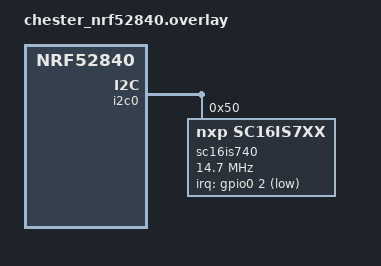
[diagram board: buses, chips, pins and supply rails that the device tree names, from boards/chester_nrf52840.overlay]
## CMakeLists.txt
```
# SPDX-License-Identifier: Apache-2.0

cmake_minimum_required(VERSION 3.20.0)
find_package(Zephyr REQUIRED HINTS $ENV{ZEPHYR_BASE})
project(sc16is7xx-example)

target_sources(app PRIVATE src/main.c)
```

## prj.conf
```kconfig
CONFIG_LOG=y
#CONFIG_LOG_CORE_INIT_PRIORITY=99
#CONFIG_LOG_MODE_IMMEDIATE=y
CONFIG_THREAD_NAME=y
CONFIG_UART_INTERRUPT_DRIVEN=y
CONFIG_UART_LOG_LEVEL_DBG=y
```

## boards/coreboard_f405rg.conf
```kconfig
CONFIG_USE_SEGGER_RTT=y
CONFIG_SEGGER_RTT_BUFFER_SIZE_UP=4096
CONFIG_SEGGER_RTT_SECTION_CCM=y
```

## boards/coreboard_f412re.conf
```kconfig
CONFIG_USE_SEGGER_RTT=y
CONFIG_SEGGER_RTT_BUFFER_SIZE_UP=4096
```

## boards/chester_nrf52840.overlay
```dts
&i2c0 {
	zephyr,concat-buf-size = <68>;

	sc16is740@50 {
		compatible = "nxp,sc16is7xx";
		reg = <0x50>;
		#address-cells = <1>;
		#size-cells = <0>;
		clock-frequency = <14700000>;
		irq-gpios = <&gpio0 2 GPIO_ACTIVE_LOW>;

		sc16is7xx_ch0: sc16is740_channel@0 {
			compatible = "nxp,sc16is7xx-channel";
			reg = <0x0>;
			current-speed = <9600>;
			flow-control = "rs485";
		};
	};
};
```

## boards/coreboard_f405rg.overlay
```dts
/ {
	chosen {
		zephyr,console = &sc16is7xx_ch0;
		zephyr,shell-uart = &sc16is7xx_ch0;
	};
};

&spi1 {
	pinctrl-0 = <&spi1_mosi_pa7 &spi1_miso_pa6 &spi1_sck_pa5 &spi1_nss_pa4>;
	pinctrl-names = "default";
	status = "okay";

	sc16is752@0 {
		compatible = "nxp,sc16is7xx";
		reg = <0x0>;
		#address-cells = <1>;
		#size-cells = <0>;
		clock-frequency = <1843200>;
		spi-max-frequency = <DT_FREQ_M(4)>;
		irq-gpios = <&gpioa 3 GPIO_ACTIVE_LOW>;
		reset-gpios = <&gpioc 4 GPIO_ACTIVE_LOW>;

		sc16is7xx_ch0: sc16is752_uart@0 {
			compatible = "nxp,sc16is7xx-uart";
			reg = <0x0>;
			flow-control = "rtscts";
		};

		sc16is7xx_ch1: sc16is752_uart@1 {
			compatible = "nxp,sc16is7xx-uart";
			reg = <0x1>;
			flow-control = "rtscts";
		};

		sc16is7xx_gpio: sc16is752_gpio {
			compatible = "nxp,sc16is7xx-gpio";
			gpio-controller;
			ngpios = <8>;
			#gpio-cells = <2>;
		};
	};
};
```

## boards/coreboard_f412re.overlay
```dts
/ {
	chosen {
		// zephyr,console = &sc16is7xx_ch0;
		// zephyr,shell-uart = &sc16is7xx_ch0;
	};
};

&spi1 {
	sc16is752@0 {
		compatible = "nxp,sc16is7xx";
		reg = <0x0>;
		#address-cells = <1>;
		#size-cells = <0>;
		clock-frequency = <1843200>;
		spi-max-frequency = <DT_FREQ_M(4)>;
		irq-gpios = <&gpioc 5 (GPIO_ACTIVE_LOW | GPIO_PULL_UP)>;
		reset-gpios = <&gpioc 4 GPIO_ACTIVE_LOW>;

		sc16is7xx_ch0: sc16is752_uart@0 {
			compatible = "nxp,sc16is7xx-uart";
			reg = <0x0>;
			// flow-control = "rtscts";
		};

		sc16is7xx_ch1: sc16is752_uart@1 {
			compatible = "nxp,sc16is7xx-uart";
			reg = <0x1>;
			// flow-control = "rtscts";
		};

		// sc16is7xx_gpio: sc16is752_gpio {
		// 	compatible = "nxp,sc16is7xx-gpio";
		// 	gpio-controller;
		// 	ngpios = <8>;
		// 	#gpio-cells = <2>;
		// };
	};
};
```

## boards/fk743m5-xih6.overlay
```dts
/ {
	chosen {
		// zephyr,console = &sc16is7xx_ch0;
		// zephyr,shell-uart = &sc16is7xx_ch0;
	};
};

&spi1 {
	status = "okay";
	pinctrl-0 = <&spi2_mosi_pb15
	             &spi2_miso_pb14
	             &spi2_sck_pb13
	             &spi2_nss_pb12>;
	pinctrl-names = "default";

	sc16is752@0 {
		compatible = "nxp,sc16is7xx";
		reg = <0x0>;
		#address-cells = <1>;
		#size-cells = <0>;
		clock-frequency = <1843200>;
		spi-max-frequency = <DT_FREQ_M(4)>;
		irq-gpios = <&gpioa 11 (GPIO_ACTIVE_LOW | GPIO_PULL_UP)>;
		reset-gpios = <&gpioa 12 GPIO_ACTIVE_LOW>;

		sc16is7xx_ch0: sc16is752_uart@0 {
			compatible = "nxp,sc16is7xx-uart";
			reg = <0x0>;
			// flow-control = "rtscts";
		};

		sc16is7xx_ch1: sc16is752_uart@1 {
			compatible = "nxp,sc16is7xx-uart";
			reg = <0x1>;
			// flow-control = "rtscts";
		};

		// sc16is7xx_gpio: sc16is752_gpio {
		// 	compatible = "nxp,sc16is7xx-gpio";
		// 	gpio-controller;
		// 	ngpios = <8>;
		// 	#gpio-cells = <2>;
		// };
	};
};
```

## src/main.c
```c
#include <zephyr/device.h>
#include <zephyr/devicetree.h>
#include <zephyr/drivers/uart.h>
#include <zephyr/kernel.h>
#include <zephyr/logging/log.h>

LOG_MODULE_REGISTER(app, LOG_LEVEL_DBG);

static uint8_t data[256] = {
	0x0,  0x1,  0x2,  0x3,  0x4,  0x5,  0x6,  0x7,  0x8,  0x9,  0xa,  0xb,  0xc,  0xd,  0xe,
	0xf,  0x10, 0x11, 0x12, 0x13, 0x14, 0x15, 0x16, 0x17, 0x18, 0x19, 0x1a, 0x1b, 0x1c, 0x1d,
	0x1e, 0x1f, 0x20, 0x21, 0x22, 0x23, 0x24, 0x25, 0x26, 0x27, 0x28, 0x29, 0x2a, 0x2b, 0x2c,
	0x2d, 0x2e, 0x2f, 0x30, 0x31, 0x32, 0x33, 0x34, 0x35, 0x36, 0x37, 0x38, 0x39, 0x3a, 0x3b,
	0x3c, 0x3d, 0x3e, 0x3f, 0x40, 0x41, 0x42, 0x43, 0x44, 0x45, 0x46, 0x47, 0x48, 0x49, 0x4a,
	0x4b, 0x4c, 0x4d, 0x4e, 0x4f, 0x50, 0x51, 0x52, 0x53, 0x54, 0x55, 0x56, 0x57, 0x58, 0x59,
	0x5a, 0x5b, 0x5c, 0x5d, 0x5e, 0x5f, 0x60, 0x61, 0x62, 0x63, 0x64, 0x65, 0x66, 0x67, 0x68,
	0x69, 0x6a, 0x6b, 0x6c, 0x6d, 0x6e, 0x6f, 0x70, 0x71, 0x72, 0x73, 0x74, 0x75, 0x76, 0x77,
	0x78, 0x79, 0x7a, 0x7b, 0x7c, 0x7d, 0x7e, 0x7f, 0x80, 0x81, 0x82, 0x83, 0x84, 0x85, 0x86,
	0x87, 0x88, 0x89, 0x8a, 0x8b, 0x8c, 0x8d, 0x8e, 0x8f, 0x90, 0x91, 0x92, 0x93, 0x94, 0x95,
	0x96, 0x97, 0x98, 0x99, 0x9a, 0x9b, 0x9c, 0x9d, 0x9e, 0x9f, 0xa0, 0xa1, 0xa2, 0xa3, 0xa4,
	0xa5, 0xa6, 0xa7, 0xa8, 0xa9, 0xaa, 0xab, 0xac, 0xad, 0xae, 0xaf, 0xb0, 0xb1, 0xb2, 0xb3,
	0xb4, 0xb5, 0xb6, 0xb7, 0xb8, 0xb9, 0xba, 0xbb, 0xbc, 0xbd, 0xbe, 0xbf, 0xc0, 0xc1, 0xc2,
	0xc3, 0xc4, 0xc5, 0xc6, 0xc7, 0xc8, 0xc9, 0xca, 0xcb, 0xcc, 0xcd, 0xce, 0xcf, 0xd0, 0xd1,
	0xd2, 0xd3, 0xd4, 0xd5, 0xd6, 0xd7, 0xd8, 0xd9, 0xda, 0xdb, 0xdc, 0xdd, 0xde, 0xdf, 0xe0,
	0xe1, 0xe2, 0xe3, 0xe4, 0xe5, 0xe6, 0xe7, 0xe8, 0xe9, 0xea, 0xeb, 0xec, 0xed, 0xee, 0xef,
	0xf0, 0xf1, 0xf2, 0xf3, 0xf4, 0xf5, 0xf6, 0xf7, 0xf8, 0xf9, 0xfa, 0xfb, 0xfc, 0xfd, 0xfe,
	0xff,
};

static void uart_callback(const struct device *dev, void *user_data)
{
	int ret;

	while (uart_irq_update(dev) && uart_irq_is_pending(dev)) {
		if (uart_irq_tx_ready(dev)) {
			static uint8_t *tx_data_start = data;
			static uint8_t *tx_data_end = data + ARRAY_SIZE(data);

			ret = uart_fifo_fill(dev, tx_data_start, tx_data_end - tx_data_start);

			if (ret < 0) {
				LOG_ERR("`uart_fifo_fill` failed: %d", ret);
			} else {
				LOG_HEXDUMP_DBG(tx_data_start, ret, "tx");
				tx_data_start += ret;
			}

			if (tx_data_start >= tx_data_end) {
				uart_irq_tx_disable(dev);
				tx_data_start = data;
			}
		}

		if (uart_irq_rx_ready(dev)) {
			do {
				static uint8_t rx_data[64];
				ret = uart_fifo_read(dev, rx_data, sizeof(rx_data));
				if (ret < 0) {
					LOG_ERR("`uart_fifo_read` failed: %d", ret);
					break;
				} else {
					LOG_HEXDUMP_DBG(rx_data, ret, "rx");
				}
			} while (ret > 0);
		}
	}
}

int main(void)
{
	LOG_DBG("Build time: " __DATE__ " " __TIME__);

	static const struct device *dev = DEVICE_DT_GET(DT_NODELABEL(sc16is7xx_ch0));

	if (!device_is_ready(dev)) {
		LOG_ERR("device not ready");
		return -ENODEV;
	}

	uart_irq_callback_set(dev, uart_callback);
	uart_irq_rx_enable(dev);

	while (1) {
		LOG_DBG("Alive");
		uart_irq_tx_enable(dev);
		k_msleep(2000);
	}

	return 0;
}
```
